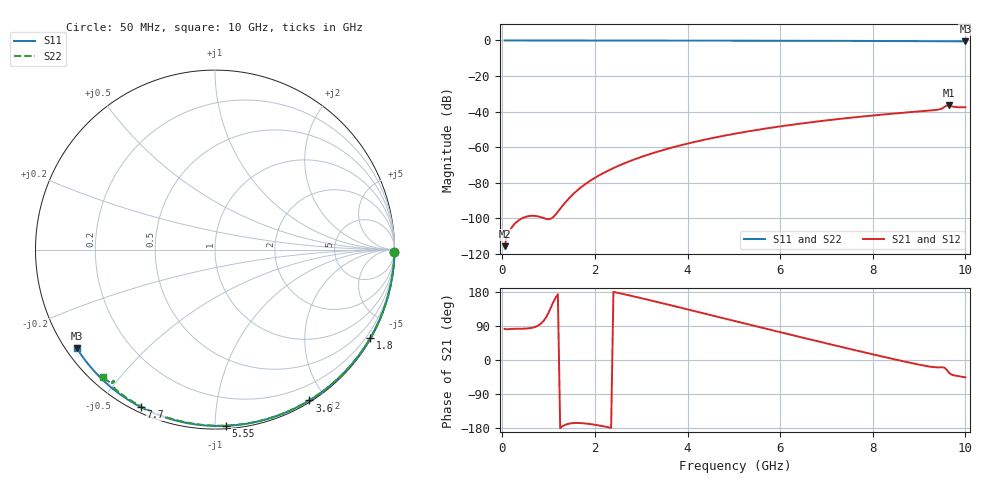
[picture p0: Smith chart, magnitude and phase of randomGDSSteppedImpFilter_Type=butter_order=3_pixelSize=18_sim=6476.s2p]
! freq	dB(S11)	phase(S11)	dB(S12)	phase(S12)
!  dB(S21)	phase(S21)	dB(S22)	phase(S22)
!S-par simulation data
#  GHz  S  DB  R 50
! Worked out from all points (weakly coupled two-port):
!   200 points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, 50 MHz to 10 GHz, reference 50 ohm
!   highest |S21| = -36.52 dB at 9.65 GHz (marker M1); lowest = -115.6 dB at 50 MHz (marker M2)
!   lowest |S11| = -0.5 dB at 10 GHz (marker M3), VSWR 35.57, Z = 1.55 - j16 ohm
!   |S11| at or under -10 dB: nowhere
!   |S22| runs from -0.7 to 0.0 dB; largest |S21 - S12| = 0
!   S11 on the Smith chart (normalised r, x): 50 MHz: open; 1.8 GHz: 0.03, -3.77; 3.6 GHz: 0.02, -1.80; 5.55 GHz: 0.02, -1.07; 7.7 GHz: 0.02, -0.63; 10 GHz: 0.03, -0.32
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0.05  -0.00 -0.8  -115.62 82.1  -115.62 82.1  -0.00 -0.8
0.9  -0.02 -15.0  -99.91 104.4  -99.91 104.4  -0.02 -13.6
1.75  -0.04 -28.9  -81.55 -166.9  -81.55 -166.9  -0.03 -26.3
1.8  -0.04 -29.7  -80.60 -167.5  -80.60 -167.5  -0.03 -27.0
1.85  -0.04 -30.5  -79.70 -168.3  -79.70 -168.3  -0.04 -27.7
2.25  -0.05 -36.9  -73.62 -176.5  -73.62 -176.5  -0.04 -33.6
2.55  -0.05 -41.7  -69.98 175.8  -69.98 175.8  -0.05 -37.9
2.95  -0.06 -48.0  -65.93 164.6  -65.93 164.6  -0.06 -43.6
3.4  -0.07 -54.9  -62.14 151.5  -62.14 151.5  -0.07 -50.0
3.6  -0.08 -58.0  -60.65 145.6  -60.65 145.6  -0.07 -52.8
4.3  -0.10 -68.4  -56.17 124.6  -56.17 124.6  -0.09 -62.4
5.05  -0.12 -79.3  -52.28 101.9  -52.28 101.9  -0.11 -72.4
5.55  -0.14 -86.4  -50.07 86.9  -50.07 86.9  -0.13 -78.9
6.7  -0.20 -102.0  -45.86 52.7  -45.86 52.7  -0.18 -93.3
7.7  -0.26 -115.2  -42.94 23.5  -42.94 23.5  -0.24 -105.3
8.35  -0.32 -123.6  -41.32 5.1  -41.32 5.1  -0.29 -113.0
9.4  -0.42 -136.9  -38.92 -19.4  -38.92 -19.4  -0.40 -125.7
9.5  -0.43 -138.2  -38.19 -19.2  -38.19 -19.2  -0.48 -127.2
9.6  -0.44 -139.5  -36.54 -26.1  -36.54 -26.1  -0.69 -127.8
9.65  -0.45 -140.1  -36.52 -34.1  -36.52 -34.1  -0.67 -127.3
9.8  -0.46 -142.0  -37.47 -41.6  -37.47 -41.6  -0.50 -128.8
10  -0.49 -144.6  -37.54 -45.8  -37.54 -45.8  -0.48 -131.3
